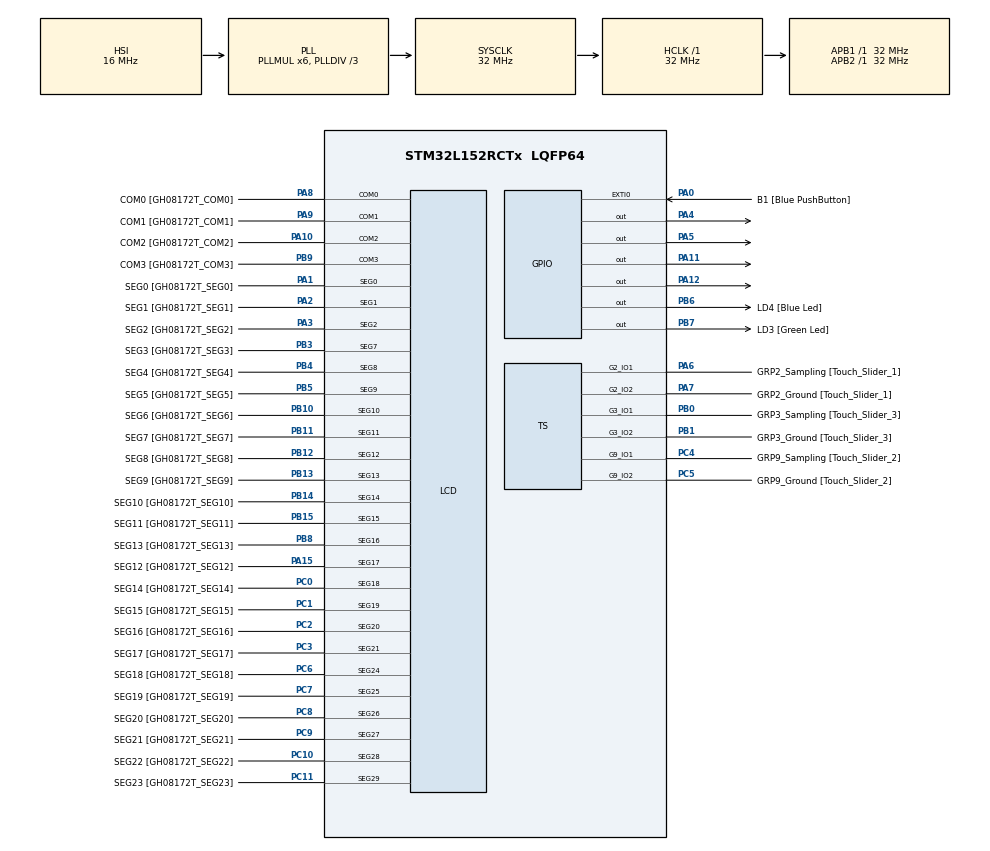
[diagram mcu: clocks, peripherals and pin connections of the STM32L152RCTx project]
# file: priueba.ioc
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Mcu.Family=STM32L1
Mcu.Name=STM32L152RCTx
Mcu.Package=LQFP64
NVIC.PriorityGroup=NVIC_PRIORITYGROUP_0
PA0-WKUP1.GPIO_Label=B1 [Blue PushButton]
PA0-WKUP1.GPIO_ModeDefaultEXTI=GPIO_MODE_EVT_RISING
PA0-WKUP1.GPIO_PuPd=GPIO_NOPULL
PA0-WKUP1.Signal=GPXTI0
PA1.GPIO_Label=SEG0 [GH08172T_SEG0]
PA1.GPIO_Mode=GPIO_MODE_AF_PP
PA1.GPIO_PuPd=GPIO_NOPULL
PA1.GPIO_Speed=GPIO_SPEED_FREQ_LOW
PA1.Mode=SEG0
PA1.Signal=LCD_SEG0
PA10.GPIO_Label=COM2 [GH08172T_COM2]
PA10.GPIO_Mode=GPIO_MODE_AF_PP
PA10.GPIO_PuPd=GPIO_NOPULL
PA10.GPIO_Speed=GPIO_SPEED_FREQ_LOW
PA10.Mode=1/4 Duty Cycle
PA10.Signal=LCD_COM2
PA11.Signal=GPIO_Output
PA12.Signal=GPIO_Output
PA13.GPIO_Label=SWDIO
PA13.Mode=Serial_Wire
PA13.Signal=SYS_JTMS-SWDIO
PA14.GPIO_Label=SWCLK
PA14.Mode=Serial_Wire
PA14.Signal=SYS_JTCK-SWCLK
PA15.GPIO_Label=SEG12 [GH08172T_SEG12]
PA15.GPIO_Mode=GPIO_MODE_AF_PP
PA15.GPIO_PuPd=GPIO_NOPULL
PA15.GPIO_Speed=GPIO_SPEED_FREQ_LOW
PA15.Mode=SEG17
PA15.Signal=LCD_SEG17
PA2.GPIO_Label=SEG1 [GH08172T_SEG1]
PA2.GPIO_Mode=GPIO_MODE_AF_PP
PA2.GPIO_PuPd=GPIO_NOPULL
PA2.GPIO_Speed=GPIO_SPEED_FREQ_LOW
PA2.Mode=SEG1
PA2.Signal=LCD_SEG1
PA3.GPIO_Label=SEG2 [GH08172T_SEG2]
PA3.GPIO_Mode=GPIO_MODE_AF_PP
PA3.GPIO_PuPd=GPIO_NOPULL
PA3.GPIO_Speed=GPIO_SPEED_FREQ_LOW
PA3.Mode=SEG2
PA3.Signal=LCD_SEG2
PA4.Signal=GPIO_Output
PA5.Signal=GPIO_Output
PA6.GPIO_Label=GRP2_Sampling [Touch_Slider_1]
PA6.Mode=G2_IO1-Sampling
PA6.Signal=TS_G2_IO1
PA7.GPIO_Label=GRP2_Ground [Touch_Slider_1]
PA7.Mode=G2_IO2-Channel
PA7.Signal=TS_G2_IO2
PA8.GPIO_Label=COM0 [GH08172T_COM0]
PA8.GPIO_Mode=GPIO_MODE_AF_PP
PA8.GPIO_PuPd=GPIO_NOPULL
PA8.GPIO_Speed=GPIO_SPEED_FREQ_LOW
PA8.Mode=1/4 Duty Cycle
PA8.Signal=LCD_COM0
PA9.GPIO_Label=COM1 [GH08172T_COM1]
PA9.GPIO_Mode=GPIO_MODE_AF_PP
PA9.GPIO_PuPd=GPIO_NOPULL
PA9.GPIO_Speed=GPIO_SPEED_FREQ_LOW
PA9.Mode=1/4 Duty Cycle
PA9.Signal=LCD_COM1
PB0.GPIO_Label=GRP3_Sampling [Touch_Slider_3]
PB0.Mode=G3_IO1-Sampling
PB0.Signal=TS_G3_IO1
PB1.GPIO_Label=GRP3_Ground [Touch_Slider_3]
PB1.Mode=G3_IO2-Channel
PB1.Signal=TS_G3_IO2
PB10.GPIO_Label=SEG6 [GH08172T_SEG6]
PB10.GPIO_Mode=GPIO_MODE_AF_PP
PB10.GPIO_PuPd=GPIO_NOPULL
PB10.GPIO_Speed=GPIO_SPEED_FREQ_LOW
PB10.Mode=SEG10
PB10.Signal=LCD_SEG10
PB11.GPIO_Label=SEG7 [GH08172T_SEG7]
PB11.GPIO_Mode=GPIO_MODE_AF_PP
PB11.GPIO_PuPd=GPIO_NOPULL
PB11.GPIO_Speed=GPIO_SPEED_FREQ_LOW
PB11.Mode=SEG11
PB11.Signal=LCD_SEG11
PB12.GPIO_Label=SEG8 [GH08172T_SEG8]
PB12.GPIO_Mode=GPIO_MODE_AF_PP
PB12.GPIO_PuPd=GPIO_NOPULL
PB12.GPIO_Speed=GPIO_SPEED_FREQ_LOW
PB12.Mode=SEG12
PB12.Signal=LCD_SEG12
PB13.GPIO_Label=SEG9 [GH08172T_SEG9]
PB13.GPIO_Mode=GPIO_MODE_AF_PP
PB13.GPIO_PuPd=GPIO_NOPULL
PB13.GPIO_Speed=GPIO_SPEED_FREQ_LOW
PB13.Mode=SEG13
PB13.Signal=LCD_SEG13
PB14.GPIO_Label=SEG10 [GH08172T_SEG10]
PB14.GPIO_Mode=GPIO_MODE_AF_PP
PB14.GPIO_PuPd=GPIO_NOPULL
PB14.GPIO_Speed=GPIO_SPEED_FREQ_LOW
PB14.Mode=SEG14
PB14.Signal=LCD_SEG14
PB15.GPIO_Label=SEG11 [GH08172T_SEG11]
PB15.GPIO_Mode=GPIO_MODE_AF_PP
PB15.GPIO_PuPd=GPIO_NOPULL
PB15.GPIO_Speed=GPIO_SPEED_FREQ_LOW
PB15.Mode=SEG15
PB15.Signal=LCD_SEG15
PB3.GPIO_Label=SEG3 [GH08172T_SEG3]
PB3.GPIO_Mode=GPIO_MODE_AF_PP
PB3.GPIO_PuPd=GPIO_NOPULL
PB3.GPIO_Speed=GPIO_SPEED_FREQ_LOW
PB3.Mode=SEG7
PB3.Signal=LCD_SEG7
PB4.GPIO_Label=SEG4 [GH08172T_SEG4]
PB4.GPIO_Mode=GPIO_MODE_AF_PP
PB4.GPIO_PuPd=GPIO_NOPULL
PB4.GPIO_Speed=GPIO_SPEED_FREQ_LOW
PB4.Mode=SEG8
PB4.Signal=LCD_SEG8
PB5.GPIO_Label=SEG5 [GH08172T_SEG5]
PB5.GPIO_Mode=GPIO_MODE_AF_PP
PB5.GPIO_PuPd=GPIO_NOPULL
PB5.GPIO_Speed=GPIO_SPEED_FREQ_LOW
PB5.Mode=SEG9
PB5.Signal=LCD_SEG9
PB6.GPIO_Label=LD4 [Blue Led]
PB6.GPIO_ModeDefaultOutputPP=GPIO_MODE_OUTPUT_PP
PB6.GPIO_PuPd=GPIO_NOPULL
PB6.GPIO_Speed=GPIO_SPEED_FREQ_LOW
PB6.Signal=GPIO_Output
PB7.GPIO_Label=LD3 [Green Led]
PB7.GPIO_ModeDefaultOutputPP=GPIO_MODE_OUTPUT_PP
PB7.GPIO_PuPd=GPIO_NOPULL
PB7.GPIO_Speed=GPIO_SPEED_FREQ_LOW
PB7.Signal=GPIO_Output
PB8.GPIO_Label=SEG13 [GH08172T_SEG13]
PB8.GPIO_Mode=GPIO_MODE_AF_PP
PB8.GPIO_PuPd=GPIO_NOPULL
PB8.GPIO_Speed=GPIO_SPEED_FREQ_LOW
PB8.Mode=SEG16
PB8.Signal=LCD_SEG16
PB9.GPIO_Label=COM3 [GH08172T_COM3]
PB9.GPIO_Mode=GPIO_MODE_AF_PP
PB9.GPIO_PuPd=GPIO_NOPULL
PB9.GPIO_Speed=GPIO_SPEED_FREQ_LOW
PB9.Mode=1/4 Duty Cycle
PB9.Signal=LCD_COM3
PC0.GPIO_Label=SEG14 [GH08172T_SEG14]
PC0.GPIO_Mode=GPIO_MODE_AF_PP
PC0.GPIO_PuPd=GPIO_NOPULL
PC0.GPIO_Speed=GPIO_SPEED_FREQ_LOW
PC0.Mode=SEG18
PC0.Signal=LCD_SEG18
PC1.GPIO_Label=SEG15 [GH08172T_SEG15]
PC1.GPIO_Mode=GPIO_MODE_AF_PP
PC1.GPIO_PuPd=GPIO_NOPULL
PC1.GPIO_Speed=GPIO_SPEED_FREQ_LOW
PC1.Mode=SEG19
PC1.Signal=LCD_SEG19
PC10.GPIO_Label=SEG22 [GH08172T_SEG22]
PC10.GPIO_Mode=GPIO_MODE_AF_PP
PC10.GPIO_PuPd=GPIO_NOPULL
PC10.GPIO_Speed=GPIO_SPEED_FREQ_LOW
PC10.Mode=SEG28
PC10.Signal=LCD_SEG28
PC11.GPIO_Label=SEG23 [GH08172T_SEG23]
PC11.GPIO_Mode=GPIO_MODE_AF_PP
PC11.GPIO_PuPd=GPIO_NOPULL
PC11.GPIO_Speed=GPIO_SPEED_FREQ_LOW
PC11.Mode=SEG29
PC11.Signal=LCD_SEG29
PC14-OSC32_IN.GPIO_Label=PC14-OSC32_IN
PC14-OSC32_IN.Mode=LSE-External-Oscillator
PC14-OSC32_IN.Signal=RCC_OSC32_IN
PC15-OSC32_OUT.GPIO_Label=PC15-OSC32_OUT
PC15-OSC32_OUT.Mode=LSE-External-Oscillator
PC15-OSC32_OUT.Signal=RCC_OSC32_OUT
PC2.GPIO_Label=SEG16 [GH08172T_SEG16]
PC2.GPIO_Mode=GPIO_MODE_AF_PP
PC2.GPIO_PuPd=GPIO_NOPULL
PC2.GPIO_Speed=GPIO_SPEED_FREQ_LOW
PC2.Mode=SEG20
PC2.Signal=LCD_SEG20
PC3.GPIO_Label=SEG17 [GH08172T_SEG17]
PC3.GPIO_Mode=GPIO_MODE_AF_PP
PC3.GPIO_PuPd=GPIO_NOPULL
PC3.GPIO_Speed=GPIO_SPEED_FREQ_LOW
PC3.Mode=SEG21
PC3.Signal=LCD_SEG21
PC4.GPIO_Label=GRP9_Sampling [Touch_Slider_2]
PC4.Mode=G9_IO1-Sampling
PC4.Signal=TS_G9_IO1
PC5.GPIO_Label=GRP9_Ground [Touch_Slider_2]
PC5.Mode=G9_IO2-Channel
PC5.Signal=TS_G9_IO2
PC6.GPIO_Label=SEG18 [GH08172T_SEG18]
PC6.GPIO_Mode=GPIO_MODE_AF_PP
PC6.GPIO_PuPd=GPIO_NOPULL
PC6.GPIO_Speed=GPIO_SPEED_FREQ_LOW
PC6.Mode=SEG24
PC6.Signal=LCD_SEG24
PC7.GPIO_Label=SEG19 [GH08172T_SEG19]
PC7.GPIO_Mode=GPIO_MODE_AF_PP
PC7.GPIO_PuPd=GPIO_NOPULL
PC7.GPIO_Speed=GPIO_SPEED_FREQ_LOW
PC7.Mode=SEG25
PC7.Signal=LCD_SEG25
PC8.GPIO_Label=SEG20 [GH08172T_SEG20]
PC8.GPIO_Mode=GPIO_MODE_AF_PP
PC8.GPIO_PuPd=GPIO_NOPULL
PC8.GPIO_Speed=GPIO_SPEED_FREQ_LOW
PC8.Mode=SEG26
PC8.Signal=LCD_SEG26
PC9.GPIO_Label=SEG21 [GH08172T_SEG21]
PC9.GPIO_Mode=GPIO_MODE_AF_PP
PC9.GPIO_PuPd=GPIO_NOPULL
PC9.GPIO_Speed=GPIO_SPEED_FREQ_LOW
PC9.Mode=SEG27
PC9.Signal=LCD_SEG27
ProjectManager.HeapSize=0x200
ProjectManager.StackSize=0x400
ProjectManager.TargetToolchain=STM32CubeIDE
RCC.48MHZClocksFreq_Value=48000000
RCC.AHBFreq_Value=32000000
RCC.APB1Freq_Value=32000000
RCC.APB1TimFreq_Value=32000000
RCC.APB2Freq_Value=32000000
RCC.APB2TimFreq_Value=32000000
RCC.HCLKFreq_Value=32000000
RCC.HSE_VALUE=8000000
RCC.HSI_VALUE=16000000
RCC.MSI_VALUE=2097000
RCC.PLLDIV=RCC_PLL_DIV3
RCC.PLLMUL=RCC_PLL_MUL6
RCC.RTCClockSelectionVirtual=RCC_RTCCLKSOURCE_LSE
RCC.SYSCLKFreq_VALUE=32000000
RCC.SYSCLKSource=RCC_SYSCLKSOURCE_PLLCLK
RCC.USBOutput=48000000
RCC.VCOOutputFreq_Value=96000000
board=STM32L152C-DISCO

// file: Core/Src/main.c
/* USER CODE BEGIN Header */
/**
  ******************************************************************************
  * @file           : main.c
  * @brief          : Main program body
  ******************************************************************************
  * @attention
  *
  * Copyright (c) 2024 STMicroelectronics.
  * All rights reserved.
  *
  * This software is licensed under terms that can be found in the LICENSE file
  * in the root directory of this software component.
  * If no LICENSE file comes with this software, it is provided AS-IS.
  *
  ******************************************************************************
  */
/* USER CODE END Header */
#include "main.h"

/* USER CODE BEGIN Includes */
#include "stm32l1xx_hal.h"
/* USER CODE END Includes */

/* USER CODE BEGIN PD */
// Define GPIO pins connected to the motor driver
#define MOTOR_A_IN1_PIN GPIO_PIN_4 // Example GPIO pin for controlling motor A IN1
#define MOTOR_A_IN2_PIN GPIO_PIN_5 // Example GPIO pin for controlling motor A IN2
#define MOTOR_B_IN3_PIN GPIO_PIN_11 // Example GPIO pin for controlling motor B IN3
#define MOTOR_B_IN4_PIN GPIO_PIN_12 // Example GPIO pin for controlling motor B IN4
/* USER CODE END PD */

LCD_HandleTypeDef hlcd;

void SystemClock_Config(void);
static void MX_GPIO_Init(void);
static void MX_LCD_Init(void);
static void MX_TS_Init(void);
/* USER CODE BEGIN PFP */
void stopWheels(void);
void moveForward(void);
void turnRight(void);
void turnLeft(void);
void moveBackward(void);
void espera(uint32_t ms);
/* USER CODE END PFP */

/* USER CODE BEGIN 0 */
void stopWheels(void) {
    // Stop both motors
    HAL_GPIO_WritePin(GPIOA, MOTOR_A_IN1_PIN | MOTOR_A_IN2_PIN | MOTOR_B_IN3_PIN | MOTOR_B_IN4_PIN, GPIO_PIN_RESET);
}

void moveForward(void) {
    // Move both motors forward
    HAL_GPIO_WritePin(GPIOA, MOTOR_A_IN1_PIN, GPIO_PIN_SET);
    HAL_GPIO_WritePin(GPIOA, MOTOR_A_IN2_PIN, GPIO_PIN_RESET);
    HAL_GPIO_WritePin(GPIOA, MOTOR_B_IN3_PIN, GPIO_PIN_SET);
    HAL_GPIO_WritePin(GPIOA, MOTOR_B_IN4_PIN, GPIO_PIN_RESET);
}

void turnRight(void) {
    // Turn right by moving right motor forward and left motor backward
    HAL_GPIO_WritePin(GPIOA, MOTOR_A_IN1_PIN, GPIO_PIN_SET);
    HAL_GPIO_WritePin(GPIOA, MOTOR_A_IN2_PIN, GPIO_PIN_RESET);
    HAL_GPIO_WritePin(GPIOA, MOTOR_B_IN3_PIN, GPIO_PIN_RESET);
    HAL_GPIO_WritePin(GPIOA, MOTOR_B_IN4_PIN, GPIO_PIN_SET);
}

void turnLeft(void) {
    // Turn left by moving left motor forward and right motor backward
    HAL_GPIO_WritePin(GPIOA, MOTOR_A_IN1_PIN, GPIO_PIN_RESET);
    HAL_GPIO_WritePin(GPIOA, MOTOR_A_IN2_PIN, GPIO_PIN_SET);
    HAL_GPIO_WritePin(GPIOA, MOTOR_B_IN3_PIN, GPIO_PIN_SET);
    HAL_GPIO_WritePin(GPIOA, MOTOR_B_IN4_PIN, GPIO_PIN_RESET);
}

void moveBackward(void) {
    // Move both motors backward
    HAL_GPIO_WritePin(GPIOA, MOTOR_A_IN1_PIN, GPIO_PIN_RESET);
    HAL_GPIO_WritePin(GPIOA, MOTOR_A_IN2_PIN, GPIO_PIN_SET);
    HAL_GPIO_WritePin(GPIOA, MOTOR_B_IN3_PIN, GPIO_PIN_RESET);
    HAL_GPIO_WritePin(GPIOA, MOTOR_B_IN4_PIN, GPIO_PIN_SET);
}

void espera(uint32_t ms) {
    HAL_Delay(ms);
}
/* USER CODE END 0 */

int main(void)
{
  /* USER CODE BEGIN 1 */
	HAL_Init(); // Initialize HAL

	    // Configure GPIO pins connected to the L298N motor driver
	    GPIO_InitTypeDef GPIO_InitStruct = {0};
	    GPIO_InitStruct.Pin = GPIO_PIN_4|GPIO_PIN_5|GPIO_PIN_11|GPIO_PIN_12;
	    GPIO_InitStruct.Mode = GPIO_MODE_OUTPUT_PP;
	    GPIO_InitStruct.Pull = GPIO_NOPULL;
	    GPIO_InitStruct.Speed = GPIO_SPEED_FREQ_LOW;
	    HAL_GPIO_Init(GPIOA, &GPIO_InitStruct);
  /* USER CODE END 1 */

  /* MCU Configuration--------------------------------------------------------*/

  /* Reset of all peripherals, Initializes the Flash interface and the Systick. */
  HAL_Init();

  /* Configure the system clock */
  SystemClock_Config();

  /* Initialize all configured peripherals */
  MX_GPIO_Init();
  MX_LCD_Init();
  MX_TS_Init();

  /* Infinite loop */
  while (1)
  {
	  // Stop both wheels for 1 second
	          stopWheels();
	          espera(1000);

	          // Move both wheels forward for 2 seconds
	          moveForward();
	          espera(2000);

	          // Stop both wheels for 1 second
	          stopWheels();
	          espera(1000);

	          // Turn right for 2 seconds
	          turnRight();
	          espera(2000);

	          // Stop both wheels for 1 second
	          stopWheels();
	          espera(1000);

	          // Turn left for 2 seconds
	          turnLeft();
	          espera(2000);

	          // Stop both wheels for 1 second
	          stopWheels();
	          espera(1000);

	          // Move both wheels backward for 2 seconds
	          moveBackward();
	          espera(2000);
  }
}

void SystemClock_Config(void)
{
  RCC_OscInitTypeDef RCC_OscInitStruct = {0};
  RCC_ClkInitTypeDef RCC_ClkInitStruct = {0};
  RCC_PeriphCLKInitTypeDef PeriphClkInit = {0};

  /** Configure the main internal regulator output voltage
  */
  __HAL_PWR_VOLTAGESCALING_CONFIG(PWR_REGULATOR_VOLTAGE_SCALE1);

  /** Initializes the RCC Oscillators according to the specified parameters
  * in the RCC_OscInitTypeDef structure.
  */
  RCC_OscInitStruct.OscillatorType = RCC_OSCILLATORTYPE_HSI|RCC_OSCILLATORTYPE_LSE;
  RCC_OscInitStruct.LSEState = RCC_LSE_ON;
  RCC_OscInitStruct.HSIState = RCC_HSI_ON;
  RCC_OscInitStruct.HSICalibrationValue = RCC_HSICALIBRATION_DEFAULT;
  RCC_OscInitStruct.PLL.PLLState = RCC_PLL_ON;
  RCC_OscInitStruct.PLL.PLLSource = RCC_PLLSOURCE_HSI;
  RCC_OscInitStruct.PLL.PLLMUL = RCC_PLL_MUL6;
  RCC_OscInitStruct.PLL.PLLDIV = RCC_PLL_DIV3;
  if (HAL_RCC_OscConfig(&RCC_OscInitStruct) != HAL_OK)
  {
    Error_Handler();
  }

  /** Initializes the CPU, AHB and APB buses clocks
  */
  RCC_ClkInitStruct.ClockType = RCC_CLOCKTYPE_HCLK|RCC_CLOCKTYPE_SYSCLK
                              |RCC_CLOCKTYPE_PCLK1|RCC_CLOCKTYPE_PCLK2;
  RCC_ClkInitStruct.SYSCLKSource = RCC_SYSCLKSOURCE_PLLCLK;
  RCC_ClkInitStruct.AHBCLKDivider = RCC_SYSCLK_DIV1;
  RCC_ClkInitStruct.APB1CLKDivider = RCC_HCLK_DIV1;
  RCC_ClkInitStruct.APB2CLKDivider = RCC_HCLK_DIV1;

  if (HAL_RCC_ClockConfig(&RCC_ClkInitStruct, FLASH_LATENCY_1) != HAL_OK)
  {
    Error_Handler();
  }
  PeriphClkInit.PeriphClockSelection = RCC_PERIPHCLK_RTC|RCC_PERIPHCLK_LCD;
  PeriphClkInit.RTCClockSelection = RCC_RTCCLKSOURCE_LSE;
  PeriphClkInit.LCDClockSelection = RCC_RTCCLKSOURCE_LSE;

  if (HAL_RCCEx_PeriphCLKConfig(&PeriphClkInit) != HAL_OK)
  {
    Error_Handler();
  }
}

static void MX_LCD_Init(void)
{

  hlcd.Instance = LCD;
  hlcd.Init.Prescaler = LCD_PRESCALER_1;
  hlcd.Init.Divider = LCD_DIVIDER_16;
  hlcd.Init.Duty = LCD_DUTY_1_4;
  hlcd.Init.Bias = LCD_BIAS_1_4;
  hlcd.Init.VoltageSource = LCD_VOLTAGESOURCE_INTERNAL;
  hlcd.Init.Contrast = LCD_CONTRASTLEVEL_0;
  hlcd.Init.DeadTime = LCD_DEADTIME_0;
  hlcd.Init.PulseOnDuration = LCD_PULSEONDURATION_0;
  hlcd.Init.MuxSegment = LCD_MUXSEGMENT_DISABLE;
  hlcd.Init.BlinkMode = LCD_BLINKMODE_OFF;
  hlcd.Init.BlinkFrequency = LCD_BLINKFREQUENCY_DIV8;
  if (HAL_LCD_Init(&hlcd) != HAL_OK)
  {
    Error_Handler();
  }

}

static void MX_TS_Init(void)
{

}

static void MX_GPIO_Init(void)
{
  GPIO_InitTypeDef GPIO_InitStruct = {0};

  /* GPIO Ports Clock Enable */
  __HAL_RCC_GPIOC_CLK_ENABLE();
  __HAL_RCC_GPIOA_CLK_ENABLE();
  __HAL_RCC_GPIOB_CLK_ENABLE();

  /*Configure GPIO pin Output Level */
  HAL_GPIO_WritePin(GPIOA, GPIO_PIN_4|GPIO_PIN_5|GPIO_PIN_11|GPIO_PIN_12, GPIO_PIN_RESET);

  /*Configure GPIO pin Output Level */
  HAL_GPIO_WritePin(GPIOB, LD4_Pin|LD3_Pin, GPIO_PIN_RESET);

  /*Configure GPIO pin : B1_Pin */
  GPIO_InitStruct.Pin = B1_Pin;
  GPIO_InitStruct.Mode = GPIO_MODE_EVT_RISING;
  GPIO_InitStruct.Pull = GPIO_NOPULL;
  HAL_GPIO_Init(B1_GPIO_Port, &GPIO_InitStruct);

  /*Configure GPIO pins : PA4 PA5 PA11 PA12 */
  GPIO_InitStruct.Pin = GPIO_PIN_4|GPIO_PIN_5|GPIO_PIN_11|GPIO_PIN_12;
  GPIO_InitStruct.Mode = GPIO_MODE_OUTPUT_PP;
  GPIO_InitStruct.Pull = GPIO_NOPULL;
  GPIO_InitStruct.Speed = GPIO_SPEED_FREQ_LOW;
  HAL_GPIO_Init(GPIOA, &GPIO_InitStruct);

  /*Configure GPIO pins : LD4_Pin LD3_Pin */
  GPIO_InitStruct.Pin = LD4_Pin|LD3_Pin;
  GPIO_InitStruct.Mode = GPIO_MODE_OUTPUT_PP;
  GPIO_InitStruct.Pull = GPIO_NOPULL;
  GPIO_InitStruct.Speed = GPIO_SPEED_FREQ_LOW;
  HAL_GPIO_Init(GPIOB, &GPIO_InitStruct);

}

void Error_Handler(void)
{
  __disable_irq();
  while (1)
  {
  }
}
